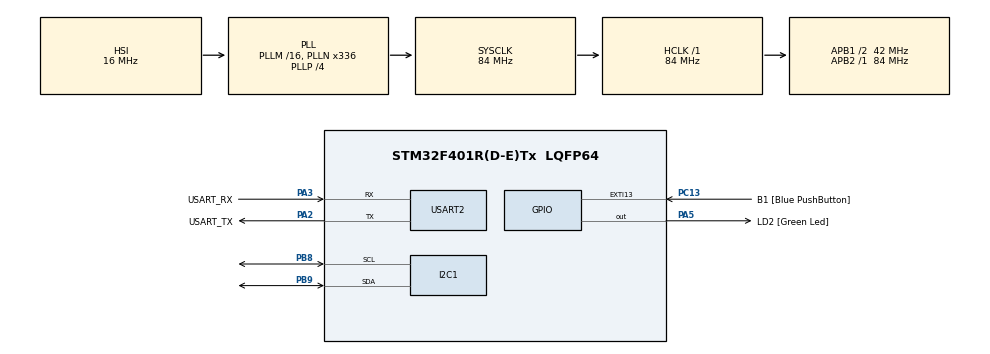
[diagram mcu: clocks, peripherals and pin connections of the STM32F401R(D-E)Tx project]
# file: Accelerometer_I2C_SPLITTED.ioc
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Mcu.Family=STM32F4
Mcu.Name=STM32F401R(D-E)Tx
Mcu.Package=LQFP64
NVIC.PriorityGroup=NVIC_PRIORITYGROUP_0
PA13.GPIO_Label=TMS
PA13.Mode=Serial_Wire
PA13.Signal=SYS_JTMS-SWDIO
PA14.GPIO_Label=TCK
PA14.Mode=Serial_Wire
PA14.Signal=SYS_JTCK-SWCLK
PA2.GPIO_Label=USART_TX
PA2.GPIO_Mode=GPIO_MODE_AF_PP
PA2.GPIO_PuPd=GPIO_NOPULL
PA2.GPIO_Speed=GPIO_SPEED_FREQ_LOW
PA2.Mode=Asynchronous
PA2.Signal=USART2_TX
PA3.GPIO_Label=USART_RX
PA3.GPIO_Mode=GPIO_MODE_AF_PP
PA3.GPIO_PuPd=GPIO_NOPULL
PA3.GPIO_Speed=GPIO_SPEED_FREQ_LOW
PA3.Mode=Asynchronous
PA3.Signal=USART2_RX
PA5.GPIO_Label=LD2 [Green Led]
PA5.GPIO_Mode=GPIO_MODE_OUTPUT_PP
PA5.GPIO_PuPd=GPIO_NOPULL
PA5.GPIO_Speed=GPIO_SPEED_FREQ_LOW
PA5.Signal=GPIO_Output
PB3.GPIO_Label=SWO
PB3.Signal=SYS_JTDO-SWO
PB8.Mode=I2C
PB8.Signal=I2C1_SCL
PB9.Mode=I2C
PB9.Signal=I2C1_SDA
PC13-ANTI_TAMP.GPIO_Label=B1 [Blue PushButton]
PC13-ANTI_TAMP.GPIO_ModeDefaultEXTI=GPIO_MODE_IT_FALLING
PC13-ANTI_TAMP.GPIO_PuPd=GPIO_NOPULL
PC13-ANTI_TAMP.Signal=GPXTI13
PC14-OSC32_IN.Mode=LSE-External-Oscillator
PC14-OSC32_IN.Signal=RCC_OSC32_IN
PC15-OSC32_OUT.Mode=LSE-External-Oscillator
PC15-OSC32_OUT.Signal=RCC_OSC32_OUT
PH0\ -\ OSC_IN.Mode=HSE-External-Clock-Source
PH0\ -\ OSC_IN.Signal=RCC_OSC_IN
PH1\ -\ OSC_OUT.Mode=HSE-External-Clock-Source
PH1\ -\ OSC_OUT.Signal=RCC_OSC_OUT
ProjectManager.HeapSize=0x200
ProjectManager.StackSize=0x400
ProjectManager.TargetToolchain=STM32CubeIDE
RCC.48MHZClocksFreq_Value=48000000
RCC.AHBFreq_Value=84000000
RCC.APB1CLKDivider=RCC_HCLK_DIV2
RCC.APB1Freq_Value=42000000
RCC.APB1TimFreq_Value=84000000
RCC.APB2Freq_Value=84000000
RCC.APB2TimFreq_Value=84000000
RCC.CortexFreq_Value=84000000
RCC.HCLKFreq_Value=84000000
RCC.HSE_VALUE=8000000
RCC.HSI_VALUE=16000000
RCC.PLLN=336
RCC.PLLP=RCC_PLLP_DIV4
RCC.PLLQ=7
RCC.SYSCLKFreq_VALUE=84000000
RCC.SYSCLKSource=RCC_SYSCLKSOURCE_PLLCLK
RCC.VCOOutputFreq_Value=336000000
USART2.VirtualMode=VM_ASYNC
board=NUCLEO-F401RE

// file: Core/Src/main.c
/* USER CODE BEGIN Header */
/**
  ******************************************************************************
  * @file           : main.c
  * @brief          : Main program body
  ******************************************************************************
  * @attention
  *
  * <h2><center>&copy; Copyright (c) 2021 STMicroelectronics.
  * All rights reserved.</center></h2>
  *
  * This software component is licensed by ST under BSD 3-Clause license,
  * the "License"; You may not use this file except in compliance with the
  * License. You may obtain a copy of the License at:
  *                        opensource.org/licenses/BSD-3-Clause
  *
  ******************************************************************************
  */
/* USER CODE END Header */
#include "main.h"

/* USER CODE BEGIN Includes */
#include "retarget.h"

#include "LSM6DS0_CUSTOM.h"
/* USER CODE END Includes */

I2C_HandleTypeDef hi2c1;

UART_HandleTypeDef huart2;

void SystemClock_Config(void);
static void MX_GPIO_Init(void);
static void MX_USART2_UART_Init(void);
static void MX_I2C1_Init(void);

/* USER CODE BEGIN PFP */
void Obtener_Ejes_LSM6DS0(I2C_HandleTypeDef *I2C_handler, SensorAxesFloat_t *acceleration);
void calibrate(void);
/* USER CODE END PFP */

/* USER CODE BEGIN 0 */

double calibrationValues[3];

/* USER CODE END 0 */

int main(void)
{

  /* MCU Configuration--------------------------------------------------------*/

  /* Reset of all peripherals, Initializes the Flash interface and the Systick. */
  HAL_Init();

  /* Configure the system clock */
  SystemClock_Config();

  /* Initialize all configured peripherals */
  MX_GPIO_Init();
  MX_USART2_UART_Init();
  MX_I2C1_Init();
  /* USER CODE BEGIN 2 */
  RetargetInit(&huart2);

  printf("Iniciando Accelerometer_I2C_SPLITTED...\r\n");
  /* USER CODE END 2 */

  /* Infinite loop */
  /* USER CODE BEGIN WHILE */

  SensorAxesFloat_t accelerationFloat;
  SensorAxesFloat_t accelerationCalibrate;

  calibrate();
  while (1)
  {
    /* USER CODE END WHILE */
	  Obtener_Ejes_LSM6DS0(&hi2c1,&accelerationFloat);
	  accelerationCalibrate.AXIS_X =  accelerationFloat.AXIS_X - calibrationValues[0];
	  accelerationCalibrate.AXIS_Y =  accelerationFloat.AXIS_Y - calibrationValues[1];
	  accelerationCalibrate.AXIS_Z =  accelerationFloat.AXIS_Z - calibrationValues[2];
	  printf("%.2f,%.2f,%.2f\r\n",accelerationCalibrate.AXIS_X,accelerationCalibrate.AXIS_Y,accelerationCalibrate.AXIS_Z);
  }
}

void SystemClock_Config(void)
{
  RCC_OscInitTypeDef RCC_OscInitStruct = {0};
  RCC_ClkInitTypeDef RCC_ClkInitStruct = {0};

  /** Configure the main internal regulator output voltage
  */
  __HAL_RCC_PWR_CLK_ENABLE();
  __HAL_PWR_VOLTAGESCALING_CONFIG(PWR_REGULATOR_VOLTAGE_SCALE2);
  /** Initializes the RCC Oscillators according to the specified parameters
  * in the RCC_OscInitTypeDef structure.
  */
  RCC_OscInitStruct.OscillatorType = RCC_OSCILLATORTYPE_HSI;
  RCC_OscInitStruct.HSIState = RCC_HSI_ON;
  RCC_OscInitStruct.HSICalibrationValue = RCC_HSICALIBRATION_DEFAULT;
  RCC_OscInitStruct.PLL.PLLState = RCC_PLL_ON;
  RCC_OscInitStruct.PLL.PLLSource = RCC_PLLSOURCE_HSI;
  RCC_OscInitStruct.PLL.PLLM = 16;
  RCC_OscInitStruct.PLL.PLLN = 336;
  RCC_OscInitStruct.PLL.PLLP = RCC_PLLP_DIV4;
  RCC_OscInitStruct.PLL.PLLQ = 7;
  if (HAL_RCC_OscConfig(&RCC_OscInitStruct) != HAL_OK)
  {
    Error_Handler();
  }
  /** Initializes the CPU, AHB and APB buses clocks
  */
  RCC_ClkInitStruct.ClockType = RCC_CLOCKTYPE_HCLK|RCC_CLOCKTYPE_SYSCLK
                              |RCC_CLOCKTYPE_PCLK1|RCC_CLOCKTYPE_PCLK2;
  RCC_ClkInitStruct.SYSCLKSource = RCC_SYSCLKSOURCE_PLLCLK;
  RCC_ClkInitStruct.AHBCLKDivider = RCC_SYSCLK_DIV1;
  RCC_ClkInitStruct.APB1CLKDivider = RCC_HCLK_DIV2;
  RCC_ClkInitStruct.APB2CLKDivider = RCC_HCLK_DIV1;

  if (HAL_RCC_ClockConfig(&RCC_ClkInitStruct, FLASH_LATENCY_2) != HAL_OK)
  {
    Error_Handler();
  }
}

static void MX_I2C1_Init(void)
{

  hi2c1.Instance = I2C1;
  hi2c1.Init.ClockSpeed = 100000;
  hi2c1.Init.DutyCycle = I2C_DUTYCYCLE_2;
  hi2c1.Init.OwnAddress1 = 0;
  hi2c1.Init.AddressingMode = I2C_ADDRESSINGMODE_7BIT;
  hi2c1.Init.DualAddressMode = I2C_DUALADDRESS_DISABLE;
  hi2c1.Init.OwnAddress2 = 0;
  hi2c1.Init.GeneralCallMode = I2C_GENERALCALL_DISABLE;
  hi2c1.Init.NoStretchMode = I2C_NOSTRETCH_DISABLE;
  if (HAL_I2C_Init(&hi2c1) != HAL_OK)
  {
    Error_Handler();
  }

}

static void MX_USART2_UART_Init(void)
{

  huart2.Instance = USART2;
  huart2.Init.BaudRate = 115200;
  huart2.Init.WordLength = UART_WORDLENGTH_8B;
  huart2.Init.StopBits = UART_STOPBITS_1;
  huart2.Init.Parity = UART_PARITY_NONE;
  huart2.Init.Mode = UART_MODE_TX_RX;
  huart2.Init.HwFlowCtl = UART_HWCONTROL_NONE;
  huart2.Init.OverSampling = UART_OVERSAMPLING_16;
  if (HAL_UART_Init(&huart2) != HAL_OK)
  {
    Error_Handler();
  }

}

static void MX_GPIO_Init(void)
{
  GPIO_InitTypeDef GPIO_InitStruct = {0};

  /* GPIO Ports Clock Enable */
  __HAL_RCC_GPIOC_CLK_ENABLE();
  __HAL_RCC_GPIOH_CLK_ENABLE();
  __HAL_RCC_GPIOA_CLK_ENABLE();
  __HAL_RCC_GPIOB_CLK_ENABLE();

  /*Configure GPIO pin Output Level */
  HAL_GPIO_WritePin(LD2_GPIO_Port, LD2_Pin, GPIO_PIN_RESET);

  /*Configure GPIO pin : B1_Pin */
  GPIO_InitStruct.Pin = B1_Pin;
  GPIO_InitStruct.Mode = GPIO_MODE_IT_FALLING;
  GPIO_InitStruct.Pull = GPIO_NOPULL;
  HAL_GPIO_Init(B1_GPIO_Port, &GPIO_InitStruct);

  /*Configure GPIO pin : LD2_Pin */
  GPIO_InitStruct.Pin = LD2_Pin;
  GPIO_InitStruct.Mode = GPIO_MODE_OUTPUT_PP;
  GPIO_InitStruct.Pull = GPIO_NOPULL;
  GPIO_InitStruct.Speed = GPIO_SPEED_FREQ_LOW;
  HAL_GPIO_Init(LD2_GPIO_Port, &GPIO_InitStruct);

}

/* USER CODE BEGIN 4 */
void calibrate() {
    SensorAxesFloat_t accelerationCalibrate;

    for (int i = 0; i < 10; i++) {
    	Obtener_Ejes_LSM6DS0(&hi2c1,&accelerationCalibrate);
    }
    calibrationValues[0] = accelerationCalibrate.AXIS_X;
    calibrationValues[1] = accelerationCalibrate.AXIS_Y;
    calibrationValues[2] = accelerationCalibrate.AXIS_Z;
}
/* USER CODE END 4 */

void Error_Handler(void)
{
  __disable_irq();
  while (1)
  {
  }
}

/************************ (C) COPYRIGHT STMicroelectronics *****END OF FILE****/
